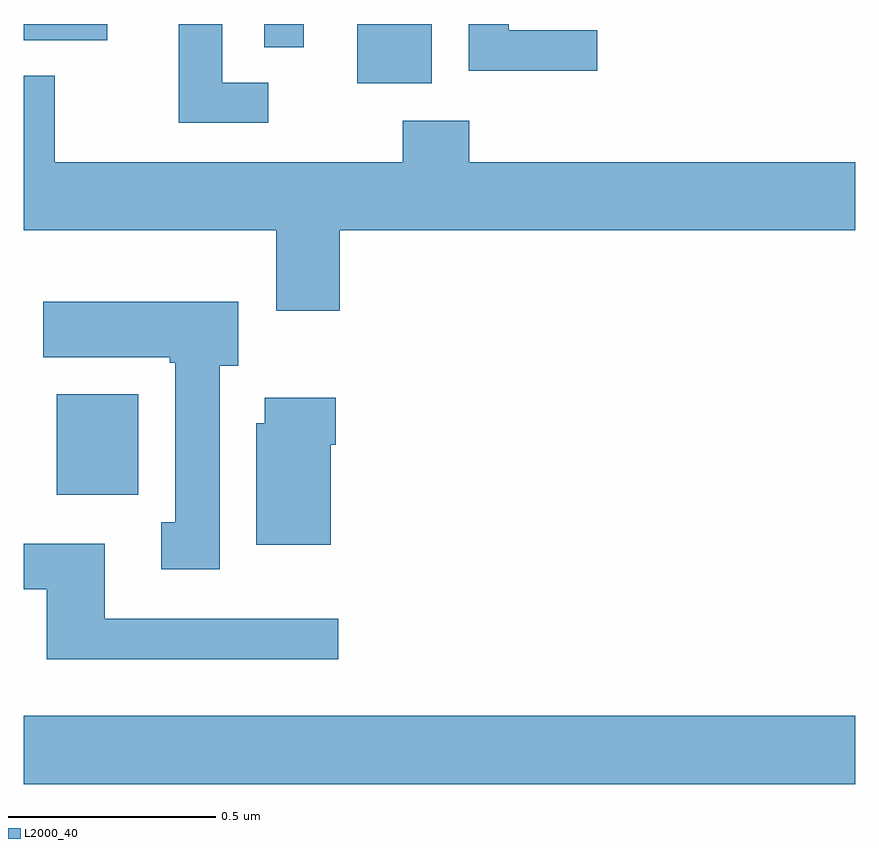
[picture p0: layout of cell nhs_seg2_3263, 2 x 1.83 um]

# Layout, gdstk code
import gdstk
lib = gdstk.Library(unit=1e-6, precision=1e-09)
def R(c, l, rs):  # rectangles x0, y0, x1, y1
    for r in rs: c.add(gdstk.rectangle(r[:2], r[2:], *l))
def P(c, l, *ps):  # polygons
    for p in ps: c.add(gdstk.Polygon(p, *l))
L2000_40 = (2000, 40)

nhs_seg2_3263 = lib.new_cell('nhs_seg2_3263')
R(nhs_seg2_3263, L2000_40, [(151,644.972,153,645.136), (151.079,645.668,151.276,645.91), (151.802,646.658,151.981,646.8), (151.578,646.744,151.674,646.8), (151,646.761,151.201,646.8)])
P(nhs_seg2_3263, L2000_40, [(152.38,646.785),(152.166,646.785),(152.166,646.8),(152.07,646.8),(152.07,646.687),(152.38,646.687)],
  [(151.588,646.659),(151.477,646.659),(151.477,646.8),(151.373,646.8),(151.373,646.563),(151.588,646.563)],
  [(151.76,646.304),(153,646.304),(153,646.468),(152.072,646.468),(152.072,646.567),(151.912,646.567),(151.912,646.468),(151.075,646.468),(151.075,646.676),(151,646.676),(151,646.304),(151.607,646.304),(151.607,646.11),(151.76,646.11)],
  [(151.471,645.978),(151.516,645.978),(151.516,646.132),(151.047,646.132),(151.047,645.998),(151.351,645.998),(151.351,645.985),(151.364,645.985),(151.364,645.602),(151.331,645.602),(151.331,645.489),(151.471,645.489)],
  [(151.738,645.788),(151.751,645.788),(151.751,645.901),(151.58,645.901),(151.58,645.84),(151.559,645.84),(151.559,645.548),(151.738,645.548)],
  [(151.756,645.369),(151.195,645.369),(151.195,645.55),(151,645.55),(151,645.441),(151.055,645.441),(151.055,645.272),(151.756,645.272)])

lib.write_gds('nhs_seg2_3263.gds')
